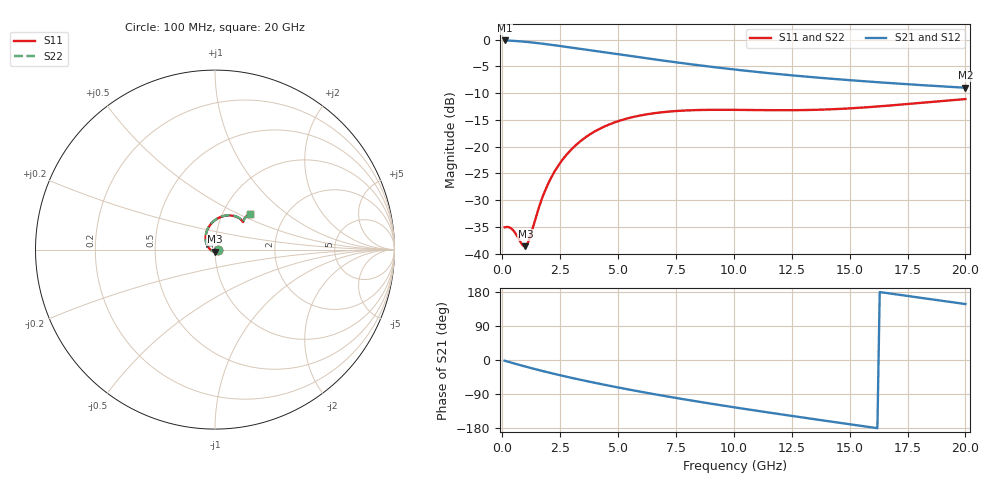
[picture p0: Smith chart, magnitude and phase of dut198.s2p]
! Touchstone file exported from HFSS 2024.1.0
!  File:  C:/UserFiles/LocalFiles/RDL_TSV_Batchsim/temp_RDL_TSV_198_1779443356.aedt
!  Generated:  06:02:51 PM May 22, 2026
!  Design:  RDL_TSV
!  Project:  temp_RDL_TSV_198_1779443356
!  Setup:  Setup1
!  Solution:  Sweep
! Variables:
!  dtsv = 10.21um
!  hbump = 3um
!  htsv = 83.72um
!  ldown = 572.14um
!  lrdl = 307.23um
!  p = 40
!  p1 = 40.68um
!  rhole = 10um
!  subl = 2945.34um
!  t = 450um
!  tdown = 3.4um
!  trdl = 2.63um
!  viad = 10um
!  wdown = 25.68um
!  wrdl = 16.5um
!  xbump = 18um
# GHz S MA R 50.000000
! Terminal data exported
! Port[1] = TM1_1_T1
! Port[2] = TM1_4_T1
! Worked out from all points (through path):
!   200 points, 100 MHz to 20 GHz, reference 50 ohm
!   highest |S21| = -0.16 dB at 100 MHz (marker M1); lowest = -9.0 dB at 20 GHz (marker M2)
!   group delay of S21, straight-line fit = 28 ps
!   lowest |S11| = -38.6 dB at 1 GHz (marker M3), VSWR 1.02, Z = 49.7 - j1.14 ohm
!   |S11| at or under -10 dB: start of sweep to end of sweep
!   |S22| runs from -38.6 to -11.1 dB; largest |S21 - S12| = 7.8e-15
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0.1  0.01765 -3.6  0.9818 -1.8  0.9818 -1.8  0.01765 -3.6
! Gamma 0 0 0 0
! Port Impedance 50 0 50 0
0.4  0.01713 -21.9  0.9757 -7.2  0.9757 -7.2  0.01712 -21.9
0.9  0.01188 -83.2  0.9586 -15.7  0.9586 -15.7  0.01185 -83.4
1  0.01175 -102.7  0.9543 -17.4  0.9543 -17.4  0.01174 -103.0
1.1  0.01257 -122.6  0.9497 -19.0  0.9497 -19.0  0.01258 -122.9
1.2  0.01436 -140.2  0.9449 -20.6  0.9449 -20.6  0.01439 -140.6
1.7  0.03211 169.9  0.9182 -28.5  0.9182 -28.5  0.03226 169.8
2.1  0.05074 150.4  0.8949 -34.5  0.8949 -34.5  0.05097 150.4
2.4  0.06552 139.6  0.8771 -38.9  0.8771 -38.9  0.06582 139.6
2.7  0.0804 130.6  0.8591 -43.1  0.8591 -43.1  0.08076 130.5
3.5  0.1181 111.3  0.8122 -53.9  0.8122 -53.9  0.1186 111.3
4.2  0.1466 98.1  0.7727 -62.8  0.7727 -62.8  0.1473 98.1
4.9  0.1699 87.2  0.735 -71.3  0.735 -71.3  0.1707 87.2
5.8  0.1923 75.8  0.6895 -81.8  0.6895 -81.8  0.1933 75.8
6.8  0.2084 65.8  0.6432 -92.8  0.6432 -92.8  0.2095 65.8
8.4  0.2197 54.5  0.5789 -109.3  0.5789 -109.3  0.2209 54.5
10.1  0.2207 47.6  0.5234 -125.7  0.5234 -125.7  0.2219 47.6
11.7  0.219 44.8  0.4815 -140.4  0.4815 -140.4  0.2203 44.8
13.4  0.2204 44.7  0.4456 -155.5  0.4456 -155.5  0.2217 44.6
15  0.2277 45.7  0.4178 -169.5  0.4178 -169.5  0.229 45.6
16.7  0.2419 46.6  0.3932 175.8  0.3932 175.8  0.2431 46.5
20  0.2782 45.3  0.355 147.7  0.355 147.7  0.2796 45.3
